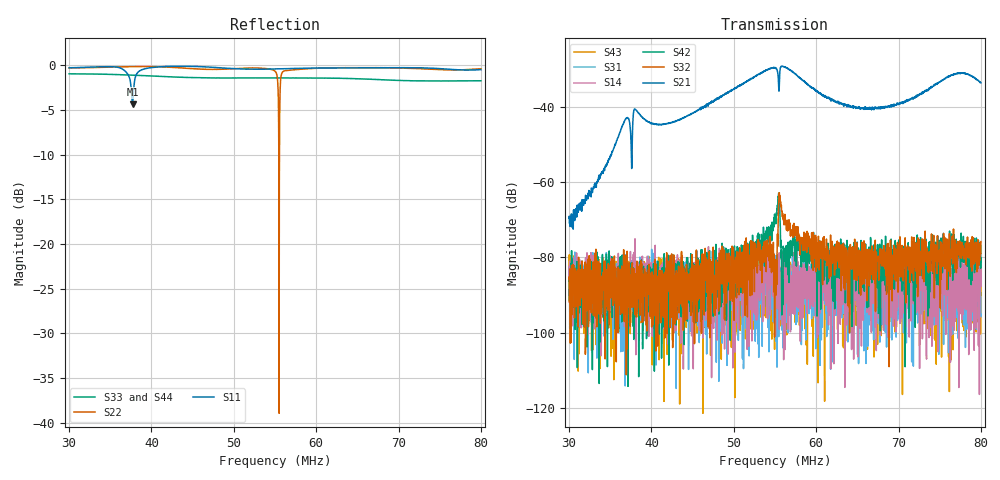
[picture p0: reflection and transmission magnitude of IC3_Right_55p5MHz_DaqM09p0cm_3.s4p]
#  HZ  S  DB  R  50.00
! Rohde & Schwarz Vector Network Analyzer
! Rohde-Schwarz,ZNB8-4Port,1311601044102961,2.82
! Created: UTC 2/13/2019, 2:14:21 PM
! freq[Hz]  db:S11  ang:S11  db:S12  ang:S12  db:S13  ang:S13  db:S14  ang:S14
!  db:S21  ang:S21  db:S22  ang:S22  db:S23  ang:S23  db:S24  ang:S24
!  db:S31  ang:S31  db:S32  ang:S32  db:S33  ang:S33  db:S34  ang:S34
!  db:S41  ang:S41  db:S42  ang:S42  db:S43  ang:S43  db:S44  ang:S44
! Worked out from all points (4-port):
!   2001 points, 30 MHz to 80 MHz, reference 50 ohm
!   strongest paths, dB at 30 MHz, 42.5 MHz, 55 MHz, 67.5 MHz, 80 MHz:
!     S21: -69.6, -44.0, -29.4, -40.1, -33.5
!     S32: -91.8, -86.2, -86.6, -79.7, -75.8
!     S42: -86.4, -87.2, -69.0, -80.5, -80.1
!     S14: -82.3, -87.5, -83.3, -85.3, -87.7
!     S31: -82.6, -89.9, -85.4, -88.2, -95.1
!     S43: -87.0, -81.7, -93.4, -85.8, -90.0
!   lowest |S11| = -4.3 dB at 37.7 MHz (marker M1), VSWR 4.09, Z = 107 - j96.2 ohm
!   |S11| at or under -10 dB: nowhere
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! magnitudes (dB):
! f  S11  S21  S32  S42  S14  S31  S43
! 30 MHz  -0.3  -69.6  -91.8  -86.4  -82.3  -82.6  -87.0
! 37.7 MHz  -4.3  -46.2  -90.6  -89.9  -88.4  -80.9  -97.4
! 51.6 MHz  -0.4  -33.2  -76.8  -80.8  -94.1  -83.5  -89.1
! 55.38 MHz  -0.4  -31.5  -69.8  -63.8  -82.8  -82.8  -91.4
! 56.05 MHz  -0.4  -29.2  -70.3  -77.9  -107.2  -80.7  -85.3
! 65.55 MHz  -0.3  -40.3  -75.9  -81.9  -85.8  -83.6  -88.8
! 80 MHz  -0.5  -33.5  -75.8  -80.1  -87.7  -95.1  -90.0
